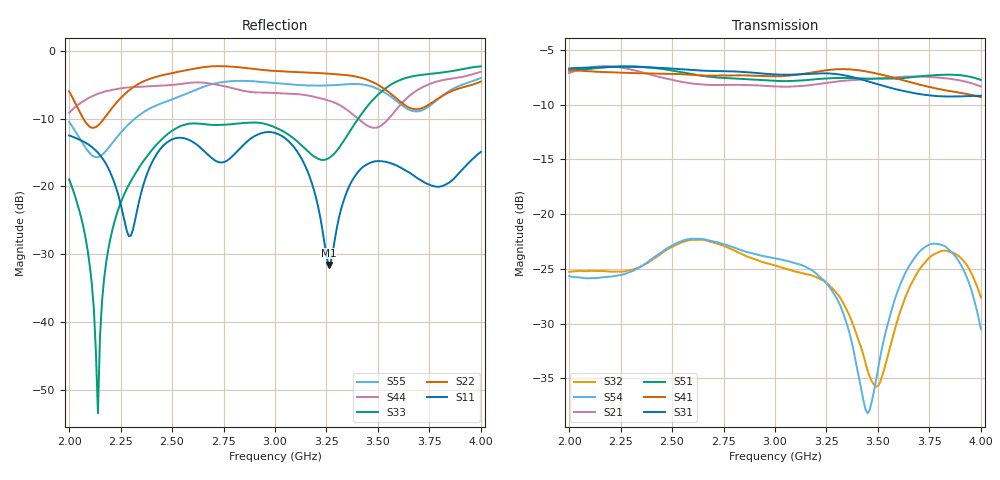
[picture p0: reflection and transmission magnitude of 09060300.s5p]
! Created with skrf 1.8.0 (http://scikit-rf.org).
# Hz S RI R 50.0
!freq ReS11 ImS11 ReS12 ImS12 ReS13 ImS13
! ReS14 ImS14 ReS15 ImS15
! ReS21 ImS21 ReS22 ImS22 ReS23 ImS23
! ReS24 ImS24 ReS25 ImS25
! ReS31 ImS31 ReS32 ImS32 ReS33 ImS33
! ReS34 ImS34 ReS35 ImS35
! ReS41 ImS41 ReS42 ImS42 ReS43 ImS43
! ReS44 ImS44 ReS45 ImS45
! ReS51 ImS51 ReS52 ImS52 ReS53 ImS53
! ReS54 ImS54 ReS55 ImS55
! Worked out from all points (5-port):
!   201 points, 2 GHz to 4 GHz, reference 50 ohm
!   strongest paths, dB at 2 GHz, 2.5 GHz, 3 GHz, 3.5 GHz, 4 GHz:
!     S31: -6.7, -6.7, -7.2, -8.2, -9.2
!     S41: -6.9, -7.2, -7.4, -7.2, -9.3
!     S51: -6.9, -6.9, -7.8, -7.6, -7.8
!     S21: -7.1, -7.8, -8.3, -7.6, -8.4
!     S54: -25.7, -22.9, -24.0, -34.2, -30.5
!     S32: -25.3, -23.0, -24.7, -35.7, -27.6
!   lowest |S11| = -31.6 dB at 3.26 GHz (marker M1), VSWR 1.05, Z = 49.5 + j2.57 ohm
!   |S11| at or under -10 dB: start of sweep to end of sweep
